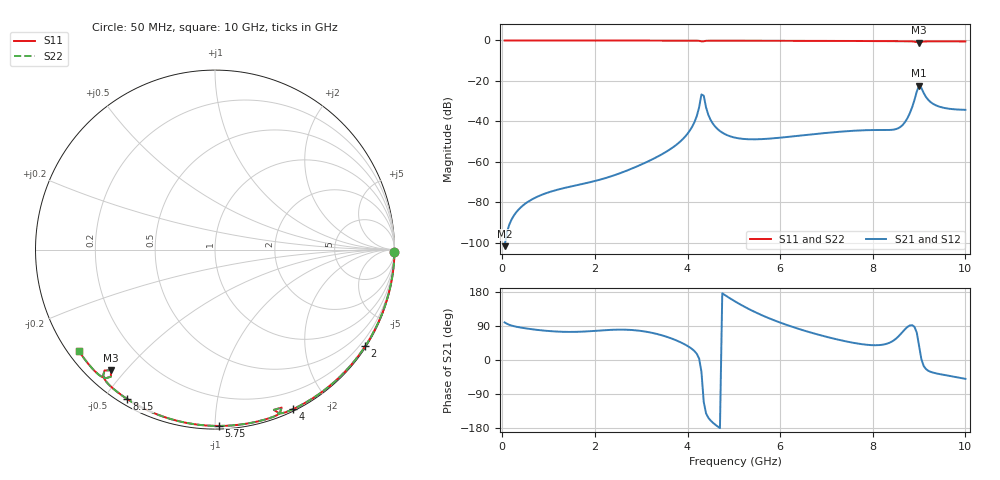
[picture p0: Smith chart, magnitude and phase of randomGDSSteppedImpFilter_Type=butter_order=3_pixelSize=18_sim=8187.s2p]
! freq	dB(S11)	phase(S11)	dB(S12)	phase(S12)
!  dB(S21)	phase(S21)	dB(S22)	phase(S22)
!S-par simulation data
#  GHz  S  DB  R 50
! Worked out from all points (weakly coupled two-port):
!   200 points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, 50 MHz to 10 GHz, reference 50 ohm
!   highest |S21| = -22.32 dB at 9 GHz (marker M1); lowest = -101.7 dB at 50 MHz (marker M2)
!   lowest |S11| = -1.0 dB at 9 GHz (marker M3), VSWR 16.61, Z = 3.64 - j22.8 ohm
!   |S11| at or under -10 dB: nowhere
!   |S22| runs from -1.0 to 0.0 dB; largest |S21 - S12| = 0
!   S11 on the Smith chart (normalised r, x): 50 MHz: open; 2 GHz: 0.03, -3.40; 4 GHz: 0.02, -1.60; 5.75 GHz: 0.02, -1.02; 8.15 GHz: 0.02, -0.57; 10 GHz: 0.03, -0.33
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0.05  -0.00 -0.8  -101.74 99.2  -101.74 99.2  -0.00 -0.8
0.55  -0.01 -9.2  -79.85 82.7  -79.85 82.7  -0.01 -9.2
1.75  -0.04 -28.8  -70.87 75.0  -70.87 75.0  -0.04 -28.8
2  -0.04 -32.8  -69.51 76.8  -69.51 76.8  -0.04 -32.8
3.4  -0.07 -54.7  -56.88 66.7  -56.88 66.7  -0.07 -54.7
4  -0.09 -64.0  -46.13 37.1  -46.13 37.1  -0.09 -64.0
4.2  -0.12 -67.4  -37.38 16.2  -37.38 16.2  -0.12 -67.4
4.3  -0.44 -69.8  -26.71 -30.7  -26.71 -30.7  -0.44 -69.8
4.35  -0.40 -67.1  -27.30 -111.0  -27.30 -111.0  -0.39 -67.1
4.45  -0.13 -69.5  -36.85 -152.6  -36.85 -152.6  -0.13 -69.5
4.6  -0.11 -72.1  -42.69 -170.8  -42.69 -170.8  -0.11 -72.1
5.05  -0.12 -78.8  -48.17 152.9  -48.17 152.9  -0.12 -78.8
5.75  -0.15 -88.6  -48.58 110.6  -48.58 110.6  -0.15 -88.6
6.7  -0.20 -101.5  -46.41 71.1  -46.41 71.1  -0.20 -101.5
8.15  -0.31 -120.6  -44.29 39.4  -44.29 39.4  -0.31 -120.6
8.35  -0.33 -123.2  -44.27 45.0  -44.27 45.0  -0.33 -123.2
8.7  -0.38 -128.1  -40.26 81.7  -40.26 81.7  -0.38 -128.1
8.85  -0.47 -130.7  -33.04 92.0  -33.04 92.0  -0.47 -130.7
9  -1.05 -130.8  -22.32 37.7  -22.32 37.7  -1.04 -130.8
9.2  -0.44 -132.3  -29.43 -28.5  -29.43 -28.5  -0.44 -132.3
9.35  -0.42 -134.7  -31.95 -34.8  -31.95 -34.8  -0.43 -134.7
10  -0.49 -143.4  -34.30 -49.7  -34.30 -49.7  -0.49 -143.4
